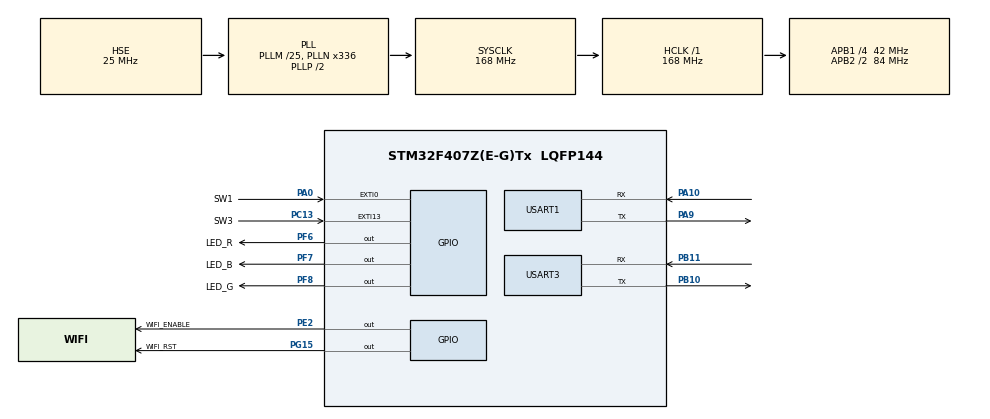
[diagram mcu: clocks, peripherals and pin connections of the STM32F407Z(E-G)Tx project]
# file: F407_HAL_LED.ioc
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Dma.Request0=USART3_RX
Dma.USART3_RX.0.Direction=DMA_PERIPH_TO_MEMORY
Dma.USART3_RX.0.FIFOMode=DMA_FIFOMODE_DISABLE
Dma.USART3_RX.0.Instance=DMA1_Stream1
Dma.USART3_RX.0.MemDataAlignment=DMA_MDATAALIGN_BYTE
Dma.USART3_RX.0.MemInc=DMA_MINC_ENABLE
Dma.USART3_RX.0.Mode=DMA_NORMAL
Dma.USART3_RX.0.PeriphDataAlignment=DMA_PDATAALIGN_BYTE
Dma.USART3_RX.0.PeriphInc=DMA_PINC_DISABLE
Dma.USART3_RX.0.Priority=DMA_PRIORITY_LOW
FREERTOS.BinarySemaphores01=myBinarySem01,Dynamic,NULL,Available
FREERTOS.CountingSemaphores01=myCountingSem01,2,Dynamic,NULL,0
FREERTOS.Events01=myEvent01,Dynamic,NULL
FREERTOS.Mutexes01=myMutex01,Dynamic,NULL,Available
FREERTOS.Queues01=myQueue01,16,uint16_t,0,Dynamic,NULL,NULL
FREERTOS.Tasks01=LED_open_close,40,128,LED_open_close_task,Default,NULL,Dynamic,NULL,NULL;usart1_show,24,128,usart1_show_task,Default,NULL,Dynamic,NULL,NULL;myTask03,8,128,StartTask03,Default,NULL,Dynamic,NULL,NULL
FREERTOS.Timers01=myTimer01,Callback01,osTimerPeriodic,Default,NULL,Dynamic,NULL
Mcu.Family=STM32F4
Mcu.Name=STM32F407Z(E-G)Tx
Mcu.Package=LQFP144
NVIC.DMA1_Stream1_IRQn=true\:5\:0\:false\:false\:true\:true\:false\:true\:true
NVIC.EXTI0_IRQn=true\:6\:0\:true\:false\:true\:true\:true\:true\:true
NVIC.EXTI15_10_IRQn=true\:5\:0\:false\:false\:true\:true\:true\:true\:true
NVIC.PriorityGroup=NVIC_PRIORITYGROUP_4
NVIC.TIM6_DAC_IRQn=true\:5\:0\:false\:false\:true\:true\:true\:true\:true
NVIC.TIM7_IRQn=true\:15\:0\:false\:false\:true\:false\:false\:true\:true
NVIC.TimeBase=TIM7_IRQn
NVIC.TimeBaseIP=TIM7
NVIC.USART1_IRQn=true\:7\:0\:true\:false\:true\:true\:true\:true\:true
NVIC.USART3_IRQn=true\:5\:0\:false\:false\:true\:true\:true\:true\:true
PA0-WKUP.GPIO_Label=SW1
PA0-WKUP.GPIO_ModeDefaultEXTI=GPIO_MODE_IT_RISING
PA0-WKUP.Signal=GPXTI0
PA10.Mode=Asynchronous
PA10.Signal=USART1_RX
PA13.Mode=Serial_Wire
PA13.Signal=SYS_JTMS-SWDIO
PA14.Mode=Serial_Wire
PA14.Signal=SYS_JTCK-SWCLK
PA9.Mode=Asynchronous
PA9.Signal=USART1_TX
PB10.Mode=Asynchronous
PB10.Signal=USART3_TX
PB11.Mode=Asynchronous
PB11.Signal=USART3_RX
PC13-ANTI_TAMP.GPIO_Label=SW3
PC13-ANTI_TAMP.Signal=GPXTI13
PE2.GPIO_Label=WIFI_ENABLE
PE2.PinState=GPIO_PIN_SET
PE2.Signal=GPIO_Output
PF6.GPIO_Label=LED_R
PF6.PinState=GPIO_PIN_SET
PF6.Signal=GPIO_Output
PF7.GPIO_Label=LED_B
PF7.PinState=GPIO_PIN_SET
PF7.Signal=GPIO_Output
PF8.GPIO_Label=LED_G
PF8.PinState=GPIO_PIN_SET
PF8.Signal=GPIO_Output
PG15.GPIO_Label=WIFI_RST
PG15.PinState=GPIO_PIN_SET
PG15.Signal=GPIO_Output
PH0-OSC_IN.Mode=HSE-External-Oscillator
PH0-OSC_IN.Signal=RCC_OSC_IN
PH1-OSC_OUT.Mode=HSE-External-Oscillator
PH1-OSC_OUT.Signal=RCC_OSC_OUT
ProjectManager.HeapSize=0x200
ProjectManager.StackSize=0x400
ProjectManager.TargetToolchain=MDK-ARM V5.32
RCC.48MHZClocksFreq_Value=84000000
RCC.AHBFreq_Value=168000000
RCC.APB1CLKDivider=RCC_HCLK_DIV4
RCC.APB1Freq_Value=42000000
RCC.APB1TimFreq_Value=84000000
RCC.APB2CLKDivider=RCC_HCLK_DIV2
RCC.APB2Freq_Value=84000000
RCC.APB2TimFreq_Value=168000000
RCC.CortexFreq_Value=168000000
RCC.HCLKFreq_Value=168000000
RCC.HSE_VALUE=25000000
RCC.HSI_VALUE=16000000
RCC.LSE_VALUE=32768
RCC.PLLM=25
RCC.PLLN=336
RCC.PLLSourceVirtual=RCC_PLLSOURCE_HSE
RCC.SYSCLKFreq_VALUE=168000000
RCC.SYSCLKSource=RCC_SYSCLKSOURCE_PLLCLK
RCC.VCOOutputFreq_Value=336000000
TIM6.AutoReloadPreload=TIM_AUTORELOAD_PRELOAD_ENABLE
TIM6.Period=999
TIM6.Prescaler=83
USART1.VirtualMode=VM_ASYNC
USART3.VirtualMode=VM_ASYNC
VP_FREERTOS_VS_CMSIS_V2.Mode=CMSIS_V2
VP_SYS_VS_tim7.Mode=TIM7
VP_TIM6_VS_ClockSourceINT.Mode=Enable_Timer
board=custom

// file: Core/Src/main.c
/* USER CODE BEGIN Header */
/**
  ******************************************************************************
  * @file           : main.c
  * @brief          : Main program body
  ******************************************************************************
  * @attention
  *
  * Copyright (c) 2026 STMicroelectronics.
  * All rights reserved.
  *
  * This software is licensed under terms that can be found in the LICENSE file
  * in the root directory of this software component.
  * If no LICENSE file comes with this software, it is provided AS-IS.
  *
  ******************************************************************************
  */
/* USER CODE END Header */
#include "main.h"
#include "cmsis_os.h"
#include "dma.h"
#include "tim.h"
#include "usart.h"
#include "gpio.h"

/* USER CODE BEGIN Includes */
#include "Init.h"
/* USER CODE END Includes */

void SystemClock_Config(void);
void MX_FREERTOS_Init(void);

/* USER CODE BEGIN 0 */
uint8_t CH340_RceBuffer[CH340_MAX_LENGTH];//CH340接收缓冲区
/* USER CODE END 0 */

int main(void)
{

  /* MCU Configuration--------------------------------------------------------*/

  /* Reset of all peripherals, Initializes the Flash interface and the Systick. */
  HAL_Init();

  /* Configure the system clock */
  SystemClock_Config();

  /* Initialize all configured peripherals */
  MX_GPIO_Init();
  MX_DMA_Init();
  MX_TIM6_Init();
  MX_USART3_UART_Init();
  MX_USART1_UART_Init();
  /* USER CODE BEGIN 2 */

  //HAL_TIM_Base_Start_IT(&htim6);  //定时器使能
  HAL_UARTEx_ReceiveToIdle_IT(&huart1,CH340_RceBuffer,CH340_MAX_LENGTH);  //CH340串口接收中断
	WIFI_Receive_DMA_Set(0);
	/* 业务初始化  */
	//WIFI_init();

  /* USER CODE END 2 */

  /* Init scheduler */
  osKernelInitialize();  /* Call init function for freertos objects (in cmsis_os2.c) */
  MX_FREERTOS_Init();

  /* Start scheduler */
  osKernelStart();

  /* We should never get here as control is now taken by the scheduler */

  /* Infinite loop */
  while (1)
  {

  }
}

void SystemClock_Config(void)
{
  RCC_OscInitTypeDef RCC_OscInitStruct = {0};
  RCC_ClkInitTypeDef RCC_ClkInitStruct = {0};

  /** Configure the main internal regulator output voltage
  */
  __HAL_RCC_PWR_CLK_ENABLE();
  __HAL_PWR_VOLTAGESCALING_CONFIG(PWR_REGULATOR_VOLTAGE_SCALE1);

  /** Initializes the RCC Oscillators according to the specified parameters
  * in the RCC_OscInitTypeDef structure.
  */
  RCC_OscInitStruct.OscillatorType = RCC_OSCILLATORTYPE_HSE;
  RCC_OscInitStruct.HSEState = RCC_HSE_ON;
  RCC_OscInitStruct.PLL.PLLState = RCC_PLL_ON;
  RCC_OscInitStruct.PLL.PLLSource = RCC_PLLSOURCE_HSE;
  RCC_OscInitStruct.PLL.PLLM = 25;
  RCC_OscInitStruct.PLL.PLLN = 336;
  RCC_OscInitStruct.PLL.PLLP = RCC_PLLP_DIV2;
  RCC_OscInitStruct.PLL.PLLQ = 4;
  if (HAL_RCC_OscConfig(&RCC_OscInitStruct) != HAL_OK)
  {
    Error_Handler();
  }

  /** Initializes the CPU, AHB and APB buses clocks
  */
  RCC_ClkInitStruct.ClockType = RCC_CLOCKTYPE_HCLK|RCC_CLOCKTYPE_SYSCLK
                              |RCC_CLOCKTYPE_PCLK1|RCC_CLOCKTYPE_PCLK2;
  RCC_ClkInitStruct.SYSCLKSource = RCC_SYSCLKSOURCE_PLLCLK;
  RCC_ClkInitStruct.AHBCLKDivider = RCC_SYSCLK_DIV1;
  RCC_ClkInitStruct.APB1CLKDivider = RCC_HCLK_DIV4;
  RCC_ClkInitStruct.APB2CLKDivider = RCC_HCLK_DIV2;

  if (HAL_RCC_ClockConfig(&RCC_ClkInitStruct, FLASH_LATENCY_5) != HAL_OK)
  {
    Error_Handler();
  }
}

void HAL_TIM_PeriodElapsedCallback(TIM_HandleTypeDef *htim)
{
  if (htim->Instance == TIM7)
  {
    HAL_IncTick();
  }
  /* USER CODE BEGIN Callback 1 */
	/*
	else if (htim->Instance == TIM6)
  {

  }
	*/
  /* USER CODE END Callback 1 */
}

void Error_Handler(void)
{
  __disable_irq();
  while (1)
  {
  }
}

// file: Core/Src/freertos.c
/* USER CODE BEGIN Header */
/**
  ******************************************************************************
  * File Name          : freertos.c
  * Description        : Code for freertos applications
  ******************************************************************************
  * @attention
  *
  * Copyright (c) 2026 STMicroelectronics.
  * All rights reserved.
  *
  * This software is licensed under terms that can be found in the LICENSE file
  * in the root directory of this software component.
  * If no LICENSE file comes with this software, it is provided AS-IS.
  *
  ******************************************************************************
  */
/* USER CODE END Header */

#include "FreeRTOS.h"
#include "task.h"
#include "main.h"
#include "cmsis_os.h"

/* USER CODE BEGIN PD */
#define FLAG1 (1<<0)
#define FLAG2 (1<<1)
/* USER CODE END PD */

/* Definitions for LED_open_close */
osThreadId_t LED_open_closeHandle;
const osThreadAttr_t LED_open_close_attributes = {
  .name = "LED_open_close",
  .stack_size = 128 * 4,
  .priority = (osPriority_t) osPriorityHigh,
};
/* Definitions for usart1_show */
osThreadId_t usart1_showHandle;
const osThreadAttr_t usart1_show_attributes = {
  .name = "usart1_show",
  .stack_size = 128 * 4,
  .priority = (osPriority_t) osPriorityNormal,
};
/* Definitions for myTask03 */
osThreadId_t myTask03Handle;
const osThreadAttr_t myTask03_attributes = {
  .name = "myTask03",
  .stack_size = 128 * 4,
  .priority = (osPriority_t) osPriorityLow,
};
/* Definitions for myQueue01 */
osMessageQueueId_t myQueue01Handle;
const osMessageQueueAttr_t myQueue01_attributes = {
  .name = "myQueue01"
};
/* Definitions for myTimer01 */
osTimerId_t myTimer01Handle;
const osTimerAttr_t myTimer01_attributes = {
  .name = "myTimer01"
};
/* Definitions for myMutex01 */
osMutexId_t myMutex01Handle;
const osMutexAttr_t myMutex01_attributes = {
  .name = "myMutex01"
};
/* Definitions for myBinarySem01 */
osSemaphoreId_t myBinarySem01Handle;
const osSemaphoreAttr_t myBinarySem01_attributes = {
  .name = "myBinarySem01"
};
/* Definitions for myCountingSem01 */
osSemaphoreId_t myCountingSem01Handle;
const osSemaphoreAttr_t myCountingSem01_attributes = {
  .name = "myCountingSem01"
};
/* Definitions for myEvent01 */
osEventFlagsId_t myEvent01Handle;
const osEventFlagsAttr_t myEvent01_attributes = {
  .name = "myEvent01"
};

void LED_open_close_task(void *argument);
void usart1_show_task(void *argument);
void StartTask03(void *argument);
void Callback01(void *argument);

void MX_FREERTOS_Init(void); /* (MISRA C 2004 rule 8.1) */

void MX_FREERTOS_Init(void) {
  /* Create the mutex(es) */
  /* creation of myMutex01 */
  myMutex01Handle = osMutexNew(&myMutex01_attributes);

  /* Create the semaphores(s) */
  /* creation of myBinarySem01 */
  myBinarySem01Handle = osSemaphoreNew(1, 1, &myBinarySem01_attributes);

  /* creation of myCountingSem01 */
  myCountingSem01Handle = osSemaphoreNew(2, 0, &myCountingSem01_attributes);

  /* Create the timer(s) */
  /* creation of myTimer01 */
  myTimer01Handle = osTimerNew(Callback01, osTimerPeriodic, NULL, &myTimer01_attributes);

  /* USER CODE BEGIN RTOS_TIMERS */
	osTimerStart(myTimer01Handle,1000); //开启软件定时器
  /* start timers, add new ones, ... */
  /* USER CODE END RTOS_TIMERS */

  /* Create the queue(s) */
  /* creation of myQueue01 */
  myQueue01Handle = osMessageQueueNew (16, sizeof(uint16_t), &myQueue01_attributes);

  /* Create the thread(s) */
  /* creation of LED_open_close */
  LED_open_closeHandle = osThreadNew(LED_open_close_task, NULL, &LED_open_close_attributes);

  /* creation of usart1_show */
  usart1_showHandle = osThreadNew(usart1_show_task, NULL, &usart1_show_attributes);

  /* creation of myTask03 */
  myTask03Handle = osThreadNew(StartTask03, NULL, &myTask03_attributes);

  /* creation of myEvent01 */
  myEvent01Handle = osEventFlagsNew(&myEvent01_attributes);

}

void LED_open_close_task(void *argument)
{
  /* USER CODE BEGIN LED_open_close_task */
  /* Infinite loop */
  for(;;)
  {
		osThreadFlagsWait(FLAG1,osFlagsWaitAll,3000);
		printf("FLAG1 IS OK\r\n");
		osDelay(1000);
  }
  /* USER CODE END LED_open_close_task */
}

void usart1_show_task(void *argument)
{
  /* USER CODE BEGIN usart1_show_task */
  /* Infinite loop */
  for(;;)
  {

		printf("FLAG_WAIT IS OK\r\n");
		osDelay(1000);
  }
  /* USER CODE END usart1_show_task */
}

void StartTask03(void *argument)
{
  /* USER CODE BEGIN StartTask03 */
  /* Infinite loop */
  for(;;)
  {

		printf("FLAG2 IS OK\r\n");
		osThreadFlagsSet(LED_open_closeHandle,FLAG1);
		osDelay(1000);
  }
  /* USER CODE END StartTask03 */
}

/* Callback01 function */
void Callback01(void *argument)
{
  /* USER CODE BEGIN Callback01 */
	//HAL_GPIO_TogglePin(GPIOF,LED_R_Pin);
  /* USER CODE END Callback01 */
}
